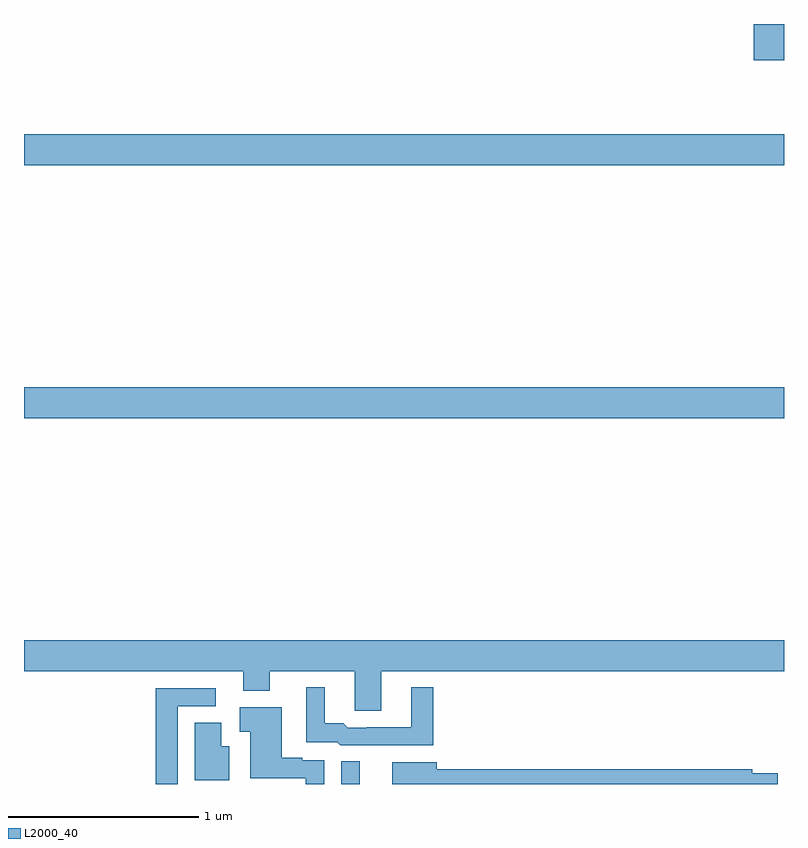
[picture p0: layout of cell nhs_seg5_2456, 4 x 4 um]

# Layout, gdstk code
import gdstk
lib = gdstk.Library(unit=1e-6, precision=1e-09)
def R(c, l, rs):  # rectangles x0, y0, x1, y1
    for r in rs: c.add(gdstk.rectangle(r[:2], r[2:], *l))
def P(c, l, *ps):  # polygons
    for p in ps: c.add(gdstk.Polygon(p, *l))
L2000_40 = (2000, 40)

nhs_seg5_2456 = lib.new_cell('nhs_seg5_2456')
R(nhs_seg5_2456, L2000_40, [(254.67,890.799,254.767,890.918), (253,892.724,257,892.888), (253,894.056,257,894.22), (256.841,894.609,257,894.799)])
P(nhs_seg5_2456, L2000_40, [(254.881,891.392),(257,891.392),(257,891.556),(253,891.556),(253,891.392),(254.153,891.392),(254.153,891.29),(254.293,891.29),(254.293,891.392),(254.741,891.392),(254.741,891.184),(254.881,891.184)],
  [(255.155,891.307),(255.038,891.307),(255.038,891.099),(254.803,891.099),(254.803,891.096),(254.703,891.096),(254.681,891.119),(254.584,891.119),(254.584,891.307),(254.486,891.307),(254.486,891.018),(254.649,891.018),(254.664,891.003),(255.155,891.003)],
  [(253.809,891.207),(254.008,891.207),(254.008,891.303),(253.693,891.303),(253.693,890.799),(253.809,890.799)],
  [(254.58,890.925),(254.465,890.925),(254.465,890.938),(254.356,890.938),(254.356,891.202),(254.136,891.202),(254.136,891.073),(254.192,891.073),(254.192,890.829),(254.484,890.829),(254.484,890.799),(254.58,890.799)],
  [(254.08,890.998),(254.038,890.998),(254.038,891.122),(253.898,891.122),(253.898,890.819),(254.08,890.819)],
  [(256.966,890.856),(256.832,890.856),(256.832,890.876),(255.172,890.876),(255.172,890.914),(254.937,890.914),(254.937,890.799),(256.966,890.799)])

lib.write_gds('nhs_seg5_2456.gds')
